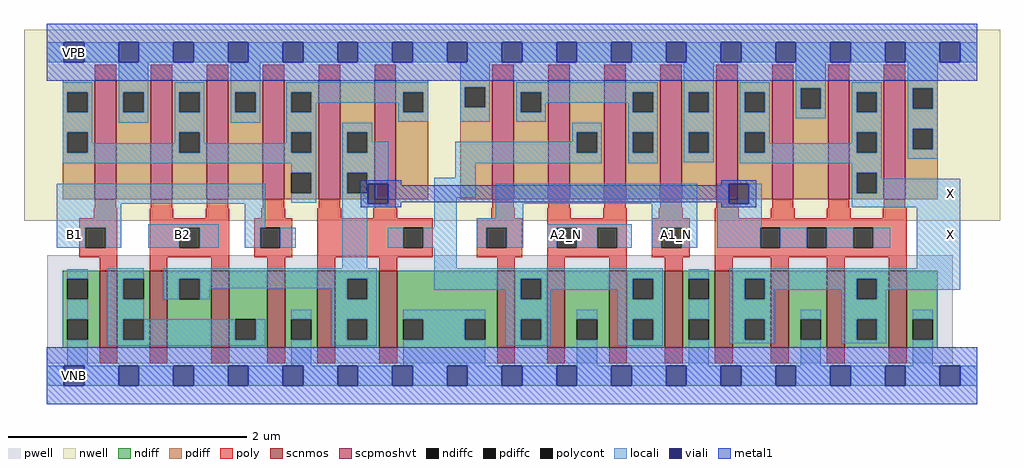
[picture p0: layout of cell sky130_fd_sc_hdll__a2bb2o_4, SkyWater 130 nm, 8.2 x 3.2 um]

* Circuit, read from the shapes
.subckt sky130_fd_sc_hdll__a2bb2o_4 A1_N A2_N B1 B2 VGND VNB VPB VPWR X
XM1 n1 B1 VGND VNB sky130_fd_pr__nfet_01v8 w=0.65 l=0.15 m=2
XM2 n2 B2 n1 VNB sky130_fd_pr__nfet_01v8 w=0.65 l=0.15 m=2
XM3 n2 n3 VGND VNB sky130_fd_pr__nfet_01v8 w=0.65 l=0.15 m=2
XM4 n3 A1_N VGND VNB sky130_fd_pr__nfet_01v8 w=0.65 l=0.15 m=2
XM5 VGND A2_N n3 VNB sky130_fd_pr__nfet_01v8 w=0.65 l=0.15 m=2
XM6 X n2 VGND VNB sky130_fd_pr__nfet_01v8 w=0.65 l=0.15 m=4
XM7 VPWR B1 n4 VPB sky130_fd_pr__pfet_01v8_hvt w=1 l=0.18 m=2
XM8 n4 B2 VPWR VPB sky130_fd_pr__pfet_01v8_hvt w=1 l=0.18 m=2
XM9 n2 n3 n4 VPB sky130_fd_pr__pfet_01v8_hvt w=1 l=0.18 m=2
XM10 n5 A1_N VPWR VPB sky130_fd_pr__pfet_01v8_hvt w=1 l=0.18 m=2
XM11 n3 A2_N n5 VPB sky130_fd_pr__pfet_01v8_hvt w=1 l=0.18 m=2
XM12 X n2 VPWR VPB sky130_fd_pr__pfet_01v8_hvt w=1 l=0.18 m=4
.ends

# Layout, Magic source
magic
tech sky130A
magscale 1 2
<< nwell >>
rect -38 261 1602 582
<< pwell >>
rect 1 21 1523 203
rect 30 -17 64 21
<< scnmos >>
rect 89 47 119 177
rect 173 47 203 177
rect 277 47 307 177
rect 371 47 401 177
rect 455 47 485 177
rect 559 47 589 177
rect 757 47 787 177
rect 841 47 871 177
rect 945 47 975 177
rect 1039 47 1069 177
rect 1123 47 1153 177
rect 1217 47 1247 177
rect 1311 47 1341 177
rect 1415 47 1445 177
<< scpmoshvt >>
rect 81 297 117 497
rect 175 297 211 497
rect 269 297 305 497
rect 363 297 399 497
rect 457 297 493 497
rect 551 297 587 497
rect 749 297 785 497
rect 843 297 879 497
rect 937 297 973 497
rect 1031 297 1067 497
rect 1125 297 1161 497
rect 1219 297 1255 497
rect 1313 297 1349 497
rect 1407 297 1443 497
<< ndiff >>
rect 27 163 89 177
rect 27 129 35 163
rect 69 129 89 163
rect 27 95 89 129
rect 27 61 35 95
rect 69 61 89 95
rect 27 47 89 61
rect 119 163 173 177
rect 119 129 129 163
rect 163 129 173 163
rect 119 95 173 129
rect 119 61 129 95
rect 163 61 173 95
rect 119 47 173 61
rect 203 163 277 177
rect 203 129 223 163
rect 257 129 277 163
rect 203 47 277 129
rect 307 95 371 177
rect 307 61 317 95
rect 351 61 371 95
rect 307 47 371 61
rect 401 95 455 177
rect 401 61 411 95
rect 445 61 455 95
rect 401 47 455 61
rect 485 163 559 177
rect 485 129 505 163
rect 539 129 559 163
rect 485 95 559 129
rect 485 61 505 95
rect 539 61 559 95
rect 485 47 559 61
rect 589 95 757 177
rect 589 61 599 95
rect 633 61 703 95
rect 737 61 757 95
rect 589 47 757 61
rect 787 163 841 177
rect 787 129 797 163
rect 831 129 841 163
rect 787 95 841 129
rect 787 61 797 95
rect 831 61 841 95
rect 787 47 841 61
rect 871 95 945 177
rect 871 61 891 95
rect 925 61 945 95
rect 871 47 945 61
rect 975 163 1039 177
rect 975 129 985 163
rect 1019 129 1039 163
rect 975 95 1039 129
rect 975 61 985 95
rect 1019 61 1039 95
rect 975 47 1039 61
rect 1069 163 1123 177
rect 1069 129 1079 163
rect 1113 129 1123 163
rect 1069 95 1123 129
rect 1069 61 1079 95
rect 1113 61 1123 95
rect 1069 47 1123 61
rect 1153 163 1217 177
rect 1153 129 1173 163
rect 1207 129 1217 163
rect 1153 95 1217 129
rect 1153 61 1173 95
rect 1207 61 1217 95
rect 1153 47 1217 61
rect 1247 95 1311 177
rect 1247 61 1267 95
rect 1301 61 1311 95
rect 1247 47 1311 61
rect 1341 163 1415 177
rect 1341 129 1361 163
rect 1395 129 1415 163
rect 1341 95 1415 129
rect 1341 61 1361 95
rect 1395 61 1415 95
rect 1341 47 1415 61
rect 1445 95 1497 177
rect 1445 61 1455 95
rect 1489 61 1497 95
rect 1445 47 1497 61
<< pdiff >>
rect 27 477 81 497
rect 27 443 35 477
rect 69 443 81 477
rect 27 409 81 443
rect 27 375 35 409
rect 69 375 81 409
rect 27 297 81 375
rect 117 477 175 497
rect 117 443 129 477
rect 163 443 175 477
rect 117 297 175 443
rect 211 477 269 497
rect 211 443 223 477
rect 257 443 269 477
rect 211 409 269 443
rect 211 375 223 409
rect 257 375 269 409
rect 211 297 269 375
rect 305 477 363 497
rect 305 443 317 477
rect 351 443 363 477
rect 305 297 363 443
rect 399 477 457 497
rect 399 443 411 477
rect 445 443 457 477
rect 399 409 457 443
rect 399 375 411 409
rect 445 375 457 409
rect 399 341 457 375
rect 399 307 411 341
rect 445 307 457 341
rect 399 297 457 307
rect 493 409 551 497
rect 493 375 505 409
rect 539 375 551 409
rect 493 341 551 375
rect 493 307 505 341
rect 539 307 551 341
rect 493 297 551 307
rect 587 477 641 497
rect 587 443 599 477
rect 633 443 641 477
rect 587 297 641 443
rect 695 485 749 497
rect 695 451 703 485
rect 737 451 749 485
rect 695 297 749 451
rect 785 477 843 497
rect 785 443 797 477
rect 831 443 843 477
rect 785 297 843 443
rect 879 409 937 497
rect 879 375 891 409
rect 925 375 937 409
rect 879 297 937 375
rect 973 477 1031 497
rect 973 443 985 477
rect 1019 443 1031 477
rect 973 409 1031 443
rect 973 375 985 409
rect 1019 375 1031 409
rect 973 297 1031 375
rect 1067 477 1125 497
rect 1067 443 1079 477
rect 1113 443 1125 477
rect 1067 409 1125 443
rect 1067 375 1079 409
rect 1113 375 1125 409
rect 1067 297 1125 375
rect 1161 477 1219 497
rect 1161 443 1173 477
rect 1207 443 1219 477
rect 1161 409 1219 443
rect 1161 375 1173 409
rect 1207 375 1219 409
rect 1161 297 1219 375
rect 1255 483 1313 497
rect 1255 449 1267 483
rect 1301 449 1313 483
rect 1255 297 1313 449
rect 1349 477 1407 497
rect 1349 443 1361 477
rect 1395 443 1407 477
rect 1349 409 1407 443
rect 1349 375 1361 409
rect 1395 375 1407 409
rect 1349 341 1407 375
rect 1349 307 1361 341
rect 1395 307 1407 341
rect 1349 297 1407 307
rect 1443 483 1497 497
rect 1443 449 1455 483
rect 1489 449 1497 483
rect 1443 415 1497 449
rect 1443 381 1455 415
rect 1489 381 1497 415
rect 1443 297 1497 381
<< ndiffc >>
rect 35 129 69 163
rect 35 61 69 95
rect 129 129 163 163
rect 129 61 163 95
rect 223 129 257 163
rect 317 61 351 95
rect 411 61 445 95
rect 505 129 539 163
rect 505 61 539 95
rect 599 61 633 95
rect 703 61 737 95
rect 797 129 831 163
rect 797 61 831 95
rect 891 61 925 95
rect 985 129 1019 163
rect 985 61 1019 95
rect 1079 129 1113 163
rect 1079 61 1113 95
rect 1173 129 1207 163
rect 1173 61 1207 95
rect 1267 61 1301 95
rect 1361 129 1395 163
rect 1361 61 1395 95
rect 1455 61 1489 95
<< pdiffc >>
rect 35 443 69 477
rect 35 375 69 409
rect 129 443 163 477
rect 223 443 257 477
rect 223 375 257 409
rect 317 443 351 477
rect 411 443 445 477
rect 411 375 445 409
rect 411 307 445 341
rect 505 375 539 409
rect 505 307 539 341
rect 599 443 633 477
rect 703 451 737 485
rect 797 443 831 477
rect 891 375 925 409
rect 985 443 1019 477
rect 985 375 1019 409
rect 1079 443 1113 477
rect 1079 375 1113 409
rect 1173 443 1207 477
rect 1173 375 1207 409
rect 1267 449 1301 483
rect 1361 443 1395 477
rect 1361 375 1395 409
rect 1361 307 1395 341
rect 1455 449 1489 483
rect 1455 381 1489 415
<< poly >>
rect 81 497 117 523
rect 175 497 211 523
rect 269 497 305 523
rect 363 497 399 523
rect 457 497 493 523
rect 551 497 587 523
rect 749 497 785 523
rect 843 497 879 523
rect 937 497 973 523
rect 1031 497 1067 523
rect 1125 497 1161 523
rect 1219 497 1255 523
rect 1313 497 1349 523
rect 1407 497 1443 523
rect 81 282 117 297
rect 175 282 211 297
rect 269 282 305 297
rect 363 282 399 297
rect 457 282 493 297
rect 551 282 587 297
rect 749 282 785 297
rect 843 282 879 297
rect 937 282 973 297
rect 1031 282 1067 297
rect 1125 282 1161 297
rect 1219 282 1255 297
rect 1313 282 1349 297
rect 1407 282 1443 297
rect 79 265 119 282
rect 55 249 119 265
rect 55 215 65 249
rect 99 215 119 249
rect 55 199 119 215
rect 89 177 119 199
rect 173 265 213 282
rect 267 265 307 282
rect 361 265 401 282
rect 455 265 495 282
rect 549 265 589 282
rect 747 265 787 282
rect 841 265 881 282
rect 935 265 975 282
rect 1029 265 1069 282
rect 1123 265 1163 282
rect 1217 265 1257 282
rect 1311 265 1351 282
rect 1405 265 1445 282
rect 173 249 307 265
rect 173 215 223 249
rect 257 215 307 249
rect 173 199 307 215
rect 349 249 413 265
rect 349 215 359 249
rect 393 215 413 249
rect 349 199 413 215
rect 455 249 649 265
rect 455 215 599 249
rect 633 215 649 249
rect 455 199 649 215
rect 723 249 799 265
rect 723 215 739 249
rect 773 215 799 249
rect 723 199 799 215
rect 841 249 975 265
rect 841 215 857 249
rect 891 215 925 249
rect 959 215 975 249
rect 841 199 975 215
rect 1017 249 1081 265
rect 1017 215 1033 249
rect 1067 215 1081 249
rect 1017 199 1081 215
rect 1123 249 1445 265
rect 1123 215 1199 249
rect 1233 215 1277 249
rect 1311 215 1355 249
rect 1389 215 1445 249
rect 1123 199 1445 215
rect 173 177 203 199
rect 277 177 307 199
rect 371 177 401 199
rect 455 177 485 199
rect 559 177 589 199
rect 757 177 787 199
rect 841 177 871 199
rect 945 177 975 199
rect 1039 177 1069 199
rect 1123 177 1153 199
rect 1217 177 1247 199
rect 1311 177 1341 199
rect 1415 177 1445 199
rect 89 21 119 47
rect 173 21 203 47
rect 277 21 307 47
rect 371 21 401 47
rect 455 21 485 47
rect 559 21 589 47
rect 757 21 787 47
rect 841 21 871 47
rect 945 21 975 47
rect 1039 21 1069 47
rect 1123 21 1153 47
rect 1217 21 1247 47
rect 1311 21 1341 47
rect 1415 21 1445 47
<< polycont >>
rect 65 215 99 249
rect 223 215 257 249
rect 359 215 393 249
rect 599 215 633 249
rect 739 215 773 249
rect 857 215 891 249
rect 925 215 959 249
rect 1033 215 1067 249
rect 1199 215 1233 249
rect 1277 215 1311 249
rect 1355 215 1389 249
<< locali >>
rect 0 527 29 561
rect 63 527 121 561
rect 155 527 213 561
rect 247 527 305 561
rect 339 527 397 561
rect 431 527 489 561
rect 523 527 581 561
rect 615 527 673 561
rect 707 527 765 561
rect 799 527 857 561
rect 891 527 949 561
rect 983 527 1041 561
rect 1075 527 1133 561
rect 1167 527 1225 561
rect 1259 527 1317 561
rect 1351 527 1409 561
rect 1443 527 1501 561
rect 1535 527 1564 561
rect 27 477 77 493
rect 27 443 35 477
rect 69 443 77 477
rect 27 409 77 443
rect 121 477 171 527
rect 121 443 129 477
rect 163 443 171 477
rect 121 425 171 443
rect 215 477 265 493
rect 215 443 223 477
rect 257 443 265 477
rect 27 375 35 409
rect 69 391 77 409
rect 215 409 265 443
rect 309 477 359 527
rect 309 443 317 477
rect 351 443 359 477
rect 309 425 359 443
rect 403 477 641 493
rect 403 443 411 477
rect 445 459 599 477
rect 445 443 453 459
rect 215 391 223 409
rect 69 375 223 391
rect 257 391 265 409
rect 403 409 453 443
rect 591 443 599 459
rect 633 443 641 477
rect 591 427 641 443
rect 695 485 745 527
rect 695 451 703 485
rect 737 451 745 485
rect 695 427 745 451
rect 789 477 1027 493
rect 789 443 797 477
rect 831 459 985 477
rect 831 443 839 459
rect 789 427 839 443
rect 977 443 985 459
rect 1019 443 1027 477
rect 403 391 411 409
rect 257 375 411 391
rect 445 375 453 409
rect 27 357 453 375
rect 411 341 453 357
rect 17 289 367 323
rect 445 307 453 341
rect 411 291 453 307
rect 497 409 547 425
rect 497 375 505 409
rect 539 393 547 409
rect 883 409 933 425
rect 883 393 891 409
rect 539 375 574 393
rect 497 341 574 375
rect 497 307 505 341
rect 539 323 574 341
rect 687 375 891 393
rect 925 375 933 409
rect 687 357 933 375
rect 977 409 1027 443
rect 977 375 985 409
rect 1019 375 1027 409
rect 977 357 1027 375
rect 1071 477 1121 527
rect 1071 443 1079 477
rect 1113 443 1121 477
rect 1071 409 1121 443
rect 1071 375 1079 409
rect 1113 375 1121 409
rect 1071 359 1121 375
rect 1165 477 1215 493
rect 1165 443 1173 477
rect 1207 443 1215 477
rect 1165 409 1215 443
rect 1259 483 1309 527
rect 1259 449 1267 483
rect 1301 449 1309 483
rect 1259 433 1309 449
rect 1353 477 1403 493
rect 1353 443 1361 477
rect 1395 443 1403 477
rect 1165 375 1173 409
rect 1207 391 1215 409
rect 1353 409 1403 443
rect 1353 391 1361 409
rect 1207 375 1361 391
rect 1395 375 1403 409
rect 1165 357 1403 375
rect 1447 483 1497 527
rect 1447 449 1455 483
rect 1489 449 1497 483
rect 1447 415 1497 449
rect 1447 381 1455 415
rect 1489 381 1497 415
rect 1447 365 1497 381
rect 687 333 721 357
rect 539 307 540 323
rect 17 249 125 289
rect 17 215 65 249
rect 99 215 125 249
rect 171 249 289 255
rect 171 215 223 249
rect 257 215 289 249
rect 333 249 367 289
rect 497 289 540 307
rect 497 283 574 289
rect 651 299 721 333
rect 1353 341 1403 357
rect 333 215 359 249
rect 393 215 419 249
rect 497 181 539 283
rect 651 249 689 299
rect 755 289 1093 323
rect 755 265 801 289
rect 573 215 599 249
rect 633 215 689 249
rect 723 249 801 265
rect 723 215 739 249
rect 773 215 801 249
rect 841 249 983 255
rect 841 215 857 249
rect 891 215 925 249
rect 959 215 983 249
rect 1017 249 1093 289
rect 1017 215 1033 249
rect 1067 215 1093 249
rect 1127 289 1146 323
rect 1180 289 1202 323
rect 1127 249 1202 289
rect 1353 307 1361 341
rect 1395 331 1403 341
rect 1395 307 1535 331
rect 1353 283 1535 307
rect 1127 215 1199 249
rect 1233 215 1277 249
rect 1311 215 1355 249
rect 1389 215 1418 249
rect 651 181 689 215
rect 1462 181 1535 283
rect 35 163 69 179
rect 35 95 69 129
rect 35 17 69 61
rect 103 163 163 181
rect 103 129 129 163
rect 197 163 555 181
rect 197 129 223 163
rect 257 147 505 163
rect 257 129 274 147
rect 479 129 505 147
rect 539 129 555 163
rect 651 163 1035 181
rect 651 145 797 163
rect 103 95 163 129
rect 411 95 445 111
rect 103 61 129 95
rect 163 61 317 95
rect 351 61 367 95
rect 103 51 367 61
rect 411 17 445 61
rect 479 95 555 129
rect 771 129 797 145
rect 831 145 985 163
rect 831 129 847 145
rect 479 61 505 95
rect 539 61 555 95
rect 479 51 555 61
rect 599 95 737 111
rect 633 61 703 95
rect 599 17 737 61
rect 771 95 847 129
rect 959 129 985 145
rect 1019 129 1035 163
rect 771 61 797 95
rect 831 61 847 95
rect 771 51 847 61
rect 891 95 925 111
rect 891 17 925 61
rect 959 95 1035 129
rect 959 61 985 95
rect 1019 61 1035 95
rect 959 51 1035 61
rect 1079 163 1113 179
rect 1079 95 1113 129
rect 1079 17 1113 61
rect 1147 163 1535 181
rect 1147 129 1173 163
rect 1207 145 1361 163
rect 1207 129 1223 145
rect 1147 95 1223 129
rect 1335 129 1361 145
rect 1395 145 1535 163
rect 1395 129 1411 145
rect 1147 61 1173 95
rect 1207 61 1223 95
rect 1147 55 1223 61
rect 1267 95 1301 111
rect 1267 17 1301 61
rect 1335 95 1411 129
rect 1335 61 1361 95
rect 1395 61 1411 95
rect 1335 55 1411 61
rect 1455 95 1489 111
rect 1455 17 1489 61
rect 0 -17 29 17
rect 63 -17 121 17
rect 155 -17 213 17
rect 247 -17 305 17
rect 339 -17 397 17
rect 431 -17 489 17
rect 523 -17 581 17
rect 615 -17 673 17
rect 707 -17 765 17
rect 799 -17 857 17
rect 891 -17 949 17
rect 983 -17 1041 17
rect 1075 -17 1133 17
rect 1167 -17 1225 17
rect 1259 -17 1317 17
rect 1351 -17 1409 17
rect 1443 -17 1501 17
rect 1535 -17 1564 17
<< viali >>
rect 29 527 63 561
rect 121 527 155 561
rect 213 527 247 561
rect 305 527 339 561
rect 397 527 431 561
rect 489 527 523 561
rect 581 527 615 561
rect 673 527 707 561
rect 765 527 799 561
rect 857 527 891 561
rect 949 527 983 561
rect 1041 527 1075 561
rect 1133 527 1167 561
rect 1225 527 1259 561
rect 1317 527 1351 561
rect 1409 527 1443 561
rect 1501 527 1535 561
rect 540 289 574 323
rect 1146 289 1180 323
rect 29 -17 63 17
rect 121 -17 155 17
rect 213 -17 247 17
rect 305 -17 339 17
rect 397 -17 431 17
rect 489 -17 523 17
rect 581 -17 615 17
rect 673 -17 707 17
rect 765 -17 799 17
rect 857 -17 891 17
rect 949 -17 983 17
rect 1041 -17 1075 17
rect 1133 -17 1167 17
rect 1225 -17 1259 17
rect 1317 -17 1351 17
rect 1409 -17 1443 17
rect 1501 -17 1535 17
<< metal1 >>
rect 0 561 1564 592
rect 0 527 29 561
rect 63 527 121 561
rect 155 527 213 561
rect 247 527 305 561
rect 339 527 397 561
rect 431 527 489 561
rect 523 527 581 561
rect 615 527 673 561
rect 707 527 765 561
rect 799 527 857 561
rect 891 527 949 561
rect 983 527 1041 561
rect 1075 527 1133 561
rect 1167 527 1225 561
rect 1259 527 1317 561
rect 1351 527 1409 561
rect 1443 527 1501 561
rect 1535 527 1564 561
rect 0 496 1564 527
rect 528 323 596 329
rect 528 289 540 323
rect 574 320 596 323
rect 1134 323 1192 329
rect 1134 320 1146 323
rect 574 292 1146 320
rect 574 289 596 292
rect 528 283 596 289
rect 1134 289 1146 292
rect 1180 289 1192 323
rect 1134 283 1192 289
rect 0 17 1564 48
rect 0 -17 29 17
rect 63 -17 121 17
rect 155 -17 213 17
rect 247 -17 305 17
rect 339 -17 397 17
rect 431 -17 489 17
rect 523 -17 581 17
rect 615 -17 673 17
rect 707 -17 765 17
rect 799 -17 857 17
rect 891 -17 949 17
rect 983 -17 1041 17
rect 1075 -17 1133 17
rect 1167 -17 1225 17
rect 1259 -17 1317 17
rect 1351 -17 1409 17
rect 1443 -17 1501 17
rect 1535 -17 1564 17
rect 0 -48 1564 -17
<< labels >>
flabel locali s 1501 221 1535 255 0 FreeSans 400 180 0 0 X
port 9 nsew signal output
flabel locali s 30 221 64 255 0 FreeSans 400 0 0 0 B1
port 3 nsew signal input
flabel locali s 212 221 246 255 0 FreeSans 400 0 0 0 B2
port 4 nsew signal input
flabel locali s 1501 289 1535 323 0 FreeSans 400 180 0 0 X
port 9 nsew signal output
flabel locali s 1041 221 1075 255 0 FreeSans 400 180 0 0 A1_N
port 1 nsew signal input
flabel locali s 857 221 891 255 0 FreeSans 400 180 0 0 A2_N
port 2 nsew signal input
flabel pwell s 30 -17 64 17 0 FreeSans 200 0 0 0 VNB
port 6 nsew ground bidirectional
flabel nwell s 30 527 64 561 0 FreeSans 200 0 0 0 VPB
port 7 nsew power bidirectional
flabel metal1 s 30 -17 64 17 0 FreeSans 200 0 0 0 VGND
port 5 nsew ground bidirectional
flabel metal1 s 30 527 64 561 0 FreeSans 200 0 0 0 VPWR
port 8 nsew power bidirectional
<< properties >>
string LEFsite unithd
string LEFclass CORE
string FIXED_BBOX 0 0 1564 544
string GDS_FILE $PDKPATH/libs.ref/sky130_fd_sc_hdll/gds/sky130_fd_sc_hdll.gds
string LEFsymmetry X Y R90
string GDS_END 1721090
string GDS_START 1709078
string LEFproperties maskLayoutSubType "abstract" prCellType "standard" originalViewName "layout"
<< end >>
